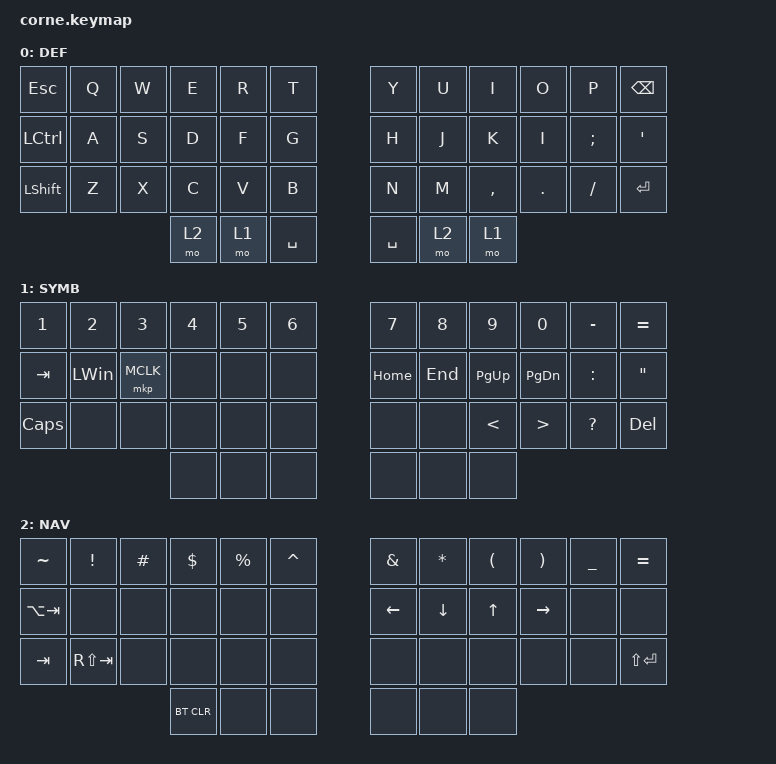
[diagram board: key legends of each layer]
/*
 * Copyright (c) 2020 The ZMK Contributors
 *
 * SPDX-License-Identifier: MIT
 */

#include <behaviors.dtsi>
#include <dt-bindings/zmk/bt.h>
#include <dt-bindings/zmk/keys.h>
#include <dt-bindings/zmk/mouse.h>

#define DEFAULT_L 0
#define SYMBOLS_L 1
#define ARROWS_L  2
#define NUMBERS_L 3

/ {
    behaviors {
        hm: homerow_mods {
            compatible = "zmk,behavior-hold-tap";
            label = "HOMEROW_MODS";
            #binding-cells = <2>;
            tapping-term-ms = <300>;
            quick-tap-ms = <200>;
            flavor = "tap-preferred";
            bindings = <&kp>, <&kp>;
        };
    };

    keymap {
        compatible = "zmk,keymap";

        word_layer {
            label = "DEF";
            bindings = <
&kp ESC           &kp Q  &kp W  &kp E  &kp R  &kp T        &kp Y      &kp U  &kp I      &kp O    &kp P          &kp BSPC
&kp LEFT_CONTROL  &kp A  &kp S  &kp D  &kp F  &kp G        &kp H      &kp J  &kp K      &kp I    &kp SEMICOLON  &kp SQT
&kp LEFT_SHIFT    &kp Z  &kp X  &kp C  &kp V  &kp B        &kp N      &kp M  &kp COMMA  &kp DOT  &kp SLASH      &kp ENTER
                                &mo 2  &mo 1  &kp SPACE    &kp SPACE  &mo 2  &mo 1
            >;
        };

        numb_layer {
            label = "SYMB";
            bindings = <
&kp NUMBER_1  &kp NUMBER_2  &kp NUMBER_3  &kp NUMBER_4  &kp N5  &kp NUMBER_6    &kp N7    &kp N8   &kp N9         &kp N0            &kp MINUS     &kp EQUAL
&kp TAB       &kp LEFT_WIN  &mkp MCLK     &none         &none   &none           &kp HOME  &kp END  &kp PG_UP      &kp PG_DN         &kp COLON     &kp DOUBLE_QUOTES
&kp CAPS      &none         &none         &none         &none   &none           &none     &none    &kp LESS_THAN  &kp GREATER_THAN  &kp QUESTION  &kp DELETE
                                          &none         &none   &none           &none     &none    &none
            >;
        };

        symbol_layer {
            label = "NAV";
            bindings = <
&kp TILDE    &kp EXCLAMATION  &kp POUND  &kp DLLR    &kp PRCNT  &kp CARET    &kp AMPS  &kp ASTERISK  &kp LEFT_PARENTHESIS  &kp RIGHT_PARENTHESIS  &kp UNDERSCORE  &kp EQUAL
&kp LA(TAB)  &none            &none      &none       &none      &none        &kp LEFT  &kp DOWN      &kp UP                &kp RIGHT              &none           &none
&kp TAB      &kp RS(TAB)      &none      &none       &none      &none        &none     &none         &none                 &none                  &none           &kp LS(ENTER)
                                         &bt BT_CLR  &none      &none        &none     &none         &none
            >;
        };
    };
};
